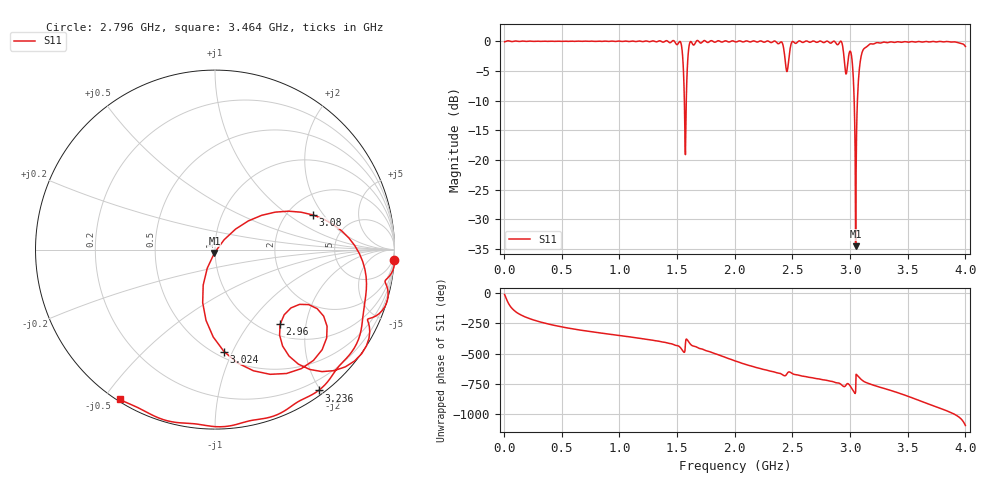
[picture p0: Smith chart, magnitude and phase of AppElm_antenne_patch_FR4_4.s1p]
! TOUCHSTONE file generated by CST MICROWAVE STUDIO
! Date and time: Tue Jun  7 21:31:16 2022
! Project name: AppElm_antenne_patch_FR4.cst
! Parameters = {L=45; W=58.5; e=0.035; h=1.6; lambda=0.190476; ls=120; w0=1.44; w1=0.533; ws=120; y0=20; y1=23.81}
! Header version: 2018
! Port assignment regex: !\s*Touchstone port\s*([0-9]+)\s*=\s*(CST MWS port|CST DS port)\s*([0-9]+|Zmin|Zmax)\s*\(\"(.*)\"\)(\s*mode\s*([0-9]+))?.*
! Touchstone port assignment:
! Touchstone port 1 = CST MWS port 1 ("")
# GHz S MA R 50
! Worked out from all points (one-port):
!   1000 points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, 4 MHz to 4 GHz, reference 50 ohm
!   lowest |S11| = -34.5 dB at 3.048 GHz (marker M1), VSWR 1.04, Z = 49.6 - j1.84 ohm
!   |S11| at or under -10 dB: 1.563 GHz to 1.58 GHz (16.89 MHz wide, 1.08 % of centre); 3.035 GHz to 3.064 GHz (28.28 MHz wide, 0.927 % of centre)
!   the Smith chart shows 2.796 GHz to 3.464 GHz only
!   S11 on the Smith chart (normalised r, x): 2.796 GHz: -1, -35; 2.96 GHz: 1.20, -1.44; 3.024 GHz: 0.55, -0.93; 3.08 GHz: 2.72, +1.58; 3.236 GHz: 0.06, -1.98; 3.464 GHz: 0.01, -0.55
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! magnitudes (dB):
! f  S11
! 4 MHz  -0.1
! 504 MHz  0.0
! 1.004 GHz  0.0
! 1.504 GHz  -0.5
! 1.536 GHz  -0.5
! 1.556 GHz  -5.5
! 1.572 GHz  -19.1
! 1.584 GHz  -6.7
! 1.604 GHz  -0.8
! 1.62 GHz  0.0
! 2.004 GHz  -0.1
! 2.396 GHz  -0.2
! 2.452 GHz  -5.1
! 2.504 GHz  0.0
! 2.796 GHz  0.0
! 2.92 GHz  0.0
! 2.96 GHz  -5.2
! 3.004 GHz  -1.7
! 3.024 GHz  -4.9
! 3.032 GHz  -8.0
! 3.048 GHz  -34.5
! 3.064 GHz  -9.8
! 3.08 GHz  -4.8
! 3.12 GHz  -1.3
! 3.236 GHz  -0.2
! 3.464 GHz  -0.1
! 3.504 GHz  -0.2
! 4 GHz  -0.9
